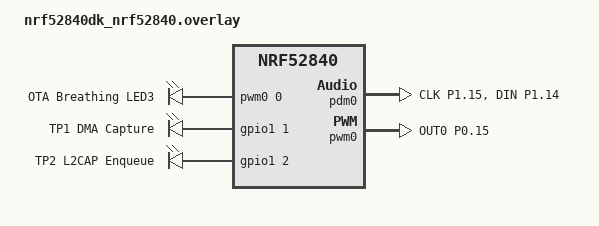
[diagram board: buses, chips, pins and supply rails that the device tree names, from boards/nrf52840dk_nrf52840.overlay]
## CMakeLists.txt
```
# SPDX-License-Identifier: LicenseRef-Nordic-5-Clause
cmake_minimum_required(VERSION 3.20.0)

find_package(Zephyr REQUIRED HINTS $ENV{ZEPHYR_BASE})
project(ble_audio)

target_include_directories(app PRIVATE
  task/include
  module/sys_mgr/include
  module/hw/include
  module/ota/include
  module/ble/include
  module/audio/include
  module/storage/include
)

target_sources(app PRIVATE
  src/main.c
  task/sys_mgr_task.c
  task/ble_tx_task.c
  task/audio_cap_task.c
  task/audio_dsp_task.c
  task/audio_store_task.c
  module/sys_mgr/src/sys_mgr.c
  module/hw/src/hw_ui.c
  module/ota/src/ota_led.c
  module/ota/src/ota_dfu.c
  module/ble/src/ble_adv.c
  module/ble/src/ble_audio_svc.c
  module/audio/src/audio_capture.c
  module/audio/src/audio_dsp.c
  module/audio/src/audio_codec.c
  module/storage/src/audio_storage.c
)

# Optimize FPU-heavy DSP (FFT + NLMS) for speed instead of -Os
set_source_files_properties(module/audio/src/audio_dsp.c PROPERTIES COMPILE_OPTIONS "-O2")
```

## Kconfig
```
# SPDX-License-Identifier: LicenseRef-Nordic-5-Clause

source "Kconfig.zephyr"
```

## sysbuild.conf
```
# MCUboot + Direct-XIP with Revert (BLE-AUDIO-MOD-OTA-003 §2.1)
# Partition layout uses native DTS partitioning (nrf52840_partition.dtsi + board overlay).
SB_CONFIG_BOOTLOADER_MCUBOOT=y
SB_CONFIG_MCUBOOT_MODE_DIRECT_XIP_WITH_REVERT=y

# Dev: NCS default test key. Production: replace with own ECDSA-P256 key.
SB_CONFIG_BOOT_SIGNATURE_TYPE_ECDSA_P256=y
# SB_CONFIG_BOOT_SIGNATURE_KEY_FILE="keys/mcuboot_ecdsa_p256.pem"
```

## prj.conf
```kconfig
# Phase 1A/1B + Phase 2 + Phase 3: base + BLE + MCUboot Direct-XIP OTA + LED3 PWM + QSPI LittleFS + PDM0/CMSIS-DSP

# ---- 1. Peripherals, watchdog, logging ----
CONFIG_GPIO=y
CONFIG_PWM=y
CONFIG_PM_DEVICE=y
CONFIG_WATCHDOG=y
CONFIG_TASK_WDT=y
# Keep HW fallback WDT >= 1500 ms (1000 + 500) so NVMC/MPSL never trips the default 120 ms window
CONFIG_TASK_WDT_MIN_TIMEOUT=1000
CONFIG_TASK_WDT_HW_FALLBACK_DELAY=500
CONFIG_AUDIO=y
CONFIG_AUDIO_DMIC=y
CONFIG_LOG=y
CONFIG_USE_SEGGER_RTT=y
CONFIG_LOG_BACKEND_RTT=y
CONFIG_LOG_BACKEND_UART=n
# DK_LIBRARY must stay OFF: it would drive P0.15 (led2) as GPIO and clash with PWM0.
CONFIG_DK_LIBRARY=n

CONFIG_FPU=y
CONFIG_CMSIS_DSP=y
CONFIG_CMSIS_DSP_FILTERING=y
CONFIG_CMSIS_DSP_TRANSFORM=y
CONFIG_SYSTEM_WORKQUEUE_STACK_SIZE=2048
CONFIG_MAIN_STACK_SIZE=2048

# ---- 2. Bluetooth ----
CONFIG_BT=y
CONFIG_BT_PERIPHERAL=y
CONFIG_BT_DEVICE_NAME="BLEAudio_DK"
CONFIG_BT_MAX_CONN=1
CONFIG_BT_PHY_UPDATE=y
CONFIG_BT_USER_PHY_UPDATE=y
CONFIG_BT_AUTO_PHY_UPDATE=n
CONFIG_BT_CTLR_PHY_2M=y
CONFIG_BT_USER_DATA_LEN_UPDATE=y
CONFIG_BT_CTLR_DATA_LENGTH_MAX=251
CONFIG_BT_BUF_ACL_TX_SIZE=251
CONFIG_BT_BUF_ACL_RX_SIZE=251
CONFIG_BT_L2CAP_TX_MTU=650
CONFIG_BT_L2CAP_TX_BUF_COUNT=12
CONFIG_BT_BUF_ACL_TX_COUNT=12
# Must exceed ACL TX count (static assert; missing from the spec's list)
CONFIG_BT_BUF_EVT_RX_COUNT=14
# L2CAP dynamic channels (CoC) depend on BT_SMP (missing from the spec's list)
CONFIG_BT_SMP=y
CONFIG_BT_L2CAP_DYNAMIC_CHANNEL=y
CONFIG_BT_L2CAP_ECRED=n
CONFIG_BT_GATT_DYNAMIC_DB=y

# ---- 3. MCUboot Direct-XIP + Revert, BLE OTA (MCUmgr SMP) ----
CONFIG_BOOTLOADER_MCUBOOT=y
CONFIG_MCUBOOT_BOOTUTIL_LIB=y
CONFIG_REBOOT=y
CONFIG_NCS_SAMPLE_MCUMGR_BT_OTA_DFU=y
CONFIG_NCS_SAMPLE_MCUMGR_BT_OTA_DFU_SPEEDUP=n
CONFIG_MCUMGR_GRP_IMG=y
# Prerequisite of the *_HOOK options below (missing from the spec's list)
CONFIG_MCUMGR_MGMT_NOTIFICATION_HOOKS=y
CONFIG_MCUMGR_GRP_IMG_STATUS_HOOKS=y
CONFIG_MCUMGR_GRP_IMG_UPLOAD_CHECK_HOOK=y
CONFIG_MCUMGR_GRP_IMG_REJECT_DIRECT_XIP_MISMATCHED_SLOT=y
CONFIG_MCUMGR_GRP_OS_RESET_HOOK=y
CONFIG_MCUMGR_TRANSPORT_BT_CONN_PARAM_CONTROL=y
CONFIG_MCUMGR_TRANSPORT_NETBUF_SIZE=2475
CONFIG_MCUMGR_TRANSPORT_WORKQUEUE_STACK_SIZE=4096
# Keep MCUmgr below sys_mgr_task (prio 8) so task_wdt is never starved during OTA
CONFIG_MCUMGR_TRANSPORT_WORKQUEUE_THREAD_PRIO=9
# Slice 4 KB internal flash erase (~90 ms) into 3 ms steps so BLE/timers/WDT stay responsive
CONFIG_SOC_FLASH_NRF_PARTIAL_ERASE=y
CONFIG_SOC_FLASH_NRF_PARTIAL_ERASE_MS=3

# ---- 4. Phase 1B: GATT client (MTU exchange), CTS client, L2CAP CoC ----
CONFIG_BT_GATT_CLIENT=y
CONFIG_BT_GATT_DM=y
CONFIG_BT_CTS_CLIENT=y

# ---- 5. Phase 2: external QSPI (MX25R64) + LittleFS + NVS settings ----
# Partition layout uses native DTS (flash0 storage_partition for NVS, mx25r64 lfs_partition for LittleFS).
CONFIG_FLASH=y
CONFIG_FLASH_MAP=y
CONFIG_NORDIC_QSPI_NOR=y
CONFIG_NORDIC_QSPI_NOR_FLASH_LAYOUT_PAGE_SIZE=4096
CONFIG_MPU_ALLOW_FLASH_WRITE=y

CONFIG_FILE_SYSTEM=y
CONFIG_FILE_SYSTEM_LITTLEFS=y
# Names are boot_<u32>_<u16>.pcm / <u32>_<n>.pcm (< 32 B): keeps struct fs_dirent small
CONFIG_FILE_SYSTEM_MAX_FILE_NAME=32
CONFIG_FS_LITTLEFS_NUM_FILES=2
CONFIG_FS_LITTLEFS_NUM_DIRS=2
CONFIG_FS_LITTLEFS_READ_SIZE=16
CONFIG_FS_LITTLEFS_PROG_SIZE=16
# Align LittleFS cache to the 4 KB page/block size so 4 KB writes don't split 8 ways
CONFIG_FS_LITTLEFS_CACHE_SIZE=4096
# 256 B bitmap (2048 bits) tracks all 2048 x 4 KB blocks in a single allocation pass
CONFIG_FS_LITTLEFS_LOOKAHEAD_SIZE=256
CONFIG_FS_LITTLEFS_BLOCK_CYCLES=512

# boot_cnt lives in NVS (internal flash storage_partition)
CONFIG_NVS=y
CONFIG_SETTINGS=y
CONFIG_SETTINGS_NVS=y
```

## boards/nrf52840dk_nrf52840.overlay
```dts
/*
 * SPDX-License-Identifier: Apache-2.0
 * Target: nrf52840dk/nrf52840 (NCS v3.4.2)
 * Spec:   doc/04_硬件与设备树/01_硬件接口与设备树配置规范.md §2
 */

/ {
	aliases {
		dmic-dev = &pdm0;
		ota-pwm-led = &ota_pwm_led;
	};

	pwmleds {
		compatible = "pwm-leds";
		ota_pwm_led: pwm_led_2 {
			/* DK LED3 is active-low -> PWM_POLARITY_INVERTED */
			pwms = <&pwm0 0 PWM_MSEC(20) PWM_POLARITY_INVERTED>;
			label = "OTA Breathing LED3";
		};
	};

	tp_pins {
		compatible = "gpio-leds";
		tp1_pin: tp1 {
			gpios = <&gpio1 1 GPIO_ACTIVE_HIGH>;
			label = "TP1 DMA Capture";
		};
		tp2_pin: tp2 {
			gpios = <&gpio1 2 GPIO_ACTIVE_HIGH>;
			label = "TP2 L2CAP Enqueue";
		};
	};
};

/* Phase 2: 8 MB QSPI MX25R6435F (board default 8 MHz, read4io/pp4io) hosts LittleFS.
 * Internal &flash0 keeps nrf52840_partition.dtsi (slot0/slot1 0x76000, storage_partition 32 KB for NVS).
 * P0.17/19/20-23 are wired on the DK; nothing else may use them.
 */
&mx25r64 {
	partitions {
		compatible = "fixed-partitions";
		#address-cells = <1>;
		#size-cells = <1>;

		lfs_partition: partition@0 {
			label = "littlefs_storage";
			reg = <0x00000000 0x00800000>;
		};
	};
};

/* arduino_i2c (i2c0) disabled; arduino_spi (&spi3) occupies P1.13~P1.15 -> disable to free P1.14/P1.15 for PDM0. */
&i2c0 {
	status = "disabled";
};

&spi3 {
	status = "disabled";
};

/* Default pwm_led0 (LED1 on pwm0 ch0) must be disabled; LED3 takes over. */
&pwm_led0 {
	status = "disabled";
};

&pinctrl {
	pdm0_default: pdm0_default {
		group1 {
			psels = <NRF_PSEL(PDM_CLK, 1, 15)>,
				<NRF_PSEL(PDM_DIN, 1, 14)>;
		};
	};

	pwm0_default: pwm0_default {
		group1 {
			psels = <NRF_PSEL(PWM_OUT0, 0, 15)>;
		};
	};

	pwm0_sleep: pwm0_sleep {
		group1 {
			psels = <NRF_PSEL(PWM_OUT0, 0, 15)>;
			low-power-enable;
		};
	};
};

&pdm0 {
	status = "okay";
	pinctrl-0 = <&pdm0_default>;
	pinctrl-names = "default";
	clock-source = "PCLK32M_HFXO";
};

&pwm0 {
	status = "okay";
	pinctrl-0 = <&pwm0_default>;
	pinctrl-1 = <&pwm0_sleep>;
	pinctrl-names = "default", "sleep";
};
```

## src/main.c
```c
/* SPDX-License-Identifier: LicenseRef-Nordic-5-Clause
 *
 * BLEAudio firmware - Phase 1A entry point.
 * src/ only contains main.c, responsible for basic RTOS task creation.
 */
#include <zephyr/kernel.h>
#include <zephyr/logging/log.h>

#include "app_tasks.h"

LOG_MODULE_REGISTER(main, LOG_LEVEL_INF);

K_THREAD_STACK_DEFINE(sys_mgr_stack, TASK_STACK_SYS_MGR);
K_THREAD_STACK_DEFINE(ble_tx_stack, TASK_STACK_BLE_TX);
K_THREAD_STACK_DEFINE(audio_cap_stack, TASK_STACK_AUDIO_CAP);
K_THREAD_STACK_DEFINE(audio_dsp_stack, TASK_STACK_AUDIO_DSP);
K_THREAD_STACK_DEFINE(audio_store_stack, TASK_STACK_AUDIO_STORE);

static struct k_thread sys_mgr_tcb;
static struct k_thread ble_tx_tcb;
static struct k_thread audio_cap_tcb;
static struct k_thread audio_dsp_tcb;
static struct k_thread audio_store_tcb;

int main(void)
{
	LOG_INF("BLEAudio Phase 1A booting: creating tasks");

	k_thread_create(&sys_mgr_tcb, sys_mgr_stack, K_THREAD_STACK_SIZEOF(sys_mgr_stack),
			sys_mgr_task_entry, NULL, NULL, NULL,
			TASK_PRIO_SYS_MGR, 0, K_NO_WAIT);
	k_thread_name_set(&sys_mgr_tcb, "sys_mgr");

	k_thread_create(&ble_tx_tcb, ble_tx_stack, K_THREAD_STACK_SIZEOF(ble_tx_stack),
			ble_tx_task_entry, NULL, NULL, NULL,
			TASK_PRIO_BLE_TX, 0, K_NO_WAIT);
	k_thread_name_set(&ble_tx_tcb, "ble_tx");

	k_thread_create(&audio_cap_tcb, audio_cap_stack, K_THREAD_STACK_SIZEOF(audio_cap_stack),
			audio_cap_task_entry, NULL, NULL, NULL,
			TASK_PRIO_AUDIO_CAP, 0, K_NO_WAIT);
	k_thread_name_set(&audio_cap_tcb, "audio_cap");

	k_thread_create(&audio_dsp_tcb, audio_dsp_stack, K_THREAD_STACK_SIZEOF(audio_dsp_stack),
			audio_dsp_task_entry, NULL, NULL, NULL,
			TASK_PRIO_AUDIO_DSP, 0, K_NO_WAIT);
	k_thread_name_set(&audio_dsp_tcb, "audio_dsp");

	k_thread_create(&audio_store_tcb, audio_store_stack,
			K_THREAD_STACK_SIZEOF(audio_store_stack),
			audio_store_task_entry, NULL, NULL, NULL,
			TASK_PRIO_AUDIO_STORE, 0, K_NO_WAIT);
	k_thread_name_set(&audio_store_tcb, "audio_store");

	return 0;
}
```
